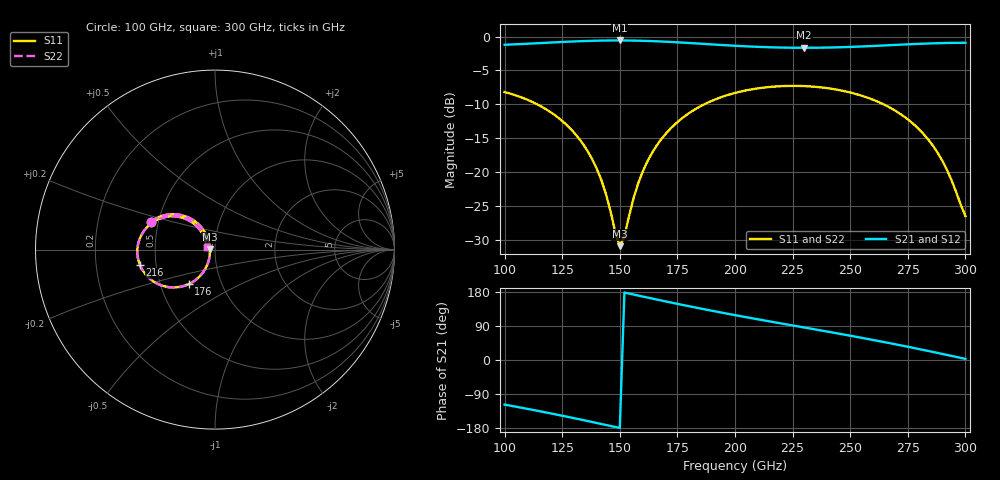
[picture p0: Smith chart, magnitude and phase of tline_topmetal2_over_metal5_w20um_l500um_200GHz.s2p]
#  GHZ S DB R 50
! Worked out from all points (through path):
!   101 points, 100 GHz to 300 GHz, reference 50 ohm
!   highest |S21| = -0.57 dB at 150 GHz (marker M1); lowest = -1.6 dB at 230 GHz (marker M2)
!   group delay of S21, straight-line fit = 3.29 ps
!   lowest |S11| = -30.9 dB at 150 GHz (marker M3), VSWR 1.06, Z = 47.2 + j0.127 ohm
!   |S11| at or under -10 dB: 114.2 GHz to 186.6 GHz (72.43 GHz wide, 48.2 % of centre); 264.5 GHz to end of sweep
!   |S22| runs from -31.2 to -7.3 dB; largest |S21 - S12| = 9.6e-14
!   S11 on the Smith chart (normalised r, x): 100 GHz: 0.45, +0.17; 176 GHz: 0.70, -0.28; 216 GHz: 0.41, -0.09; 300 GHz: 0.91, +0.03
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100  -8.18 156.5  -1.20 -117.7  -1.20 -117.7  -8.18 156.4
120  -11.16 135.5  -0.88 -141.0  -0.88 -141.0  -11.17 135.3
134  -15.83 122.6  -0.66 -158.5  -0.66 -158.5  -15.85 122.3
142  -21.18 121.3  -0.59 -168.8  -0.59 -168.8  -21.22 120.8
150  -30.92 177.3  -0.57 -179.4  -0.57 -179.4  -31.18 177.5
152  -29.50 -148.3  -0.57 178.0  -0.57 178.0  -29.66 -147.3
156  -23.80 -121.7  -0.59 172.7  -0.59 172.7  -23.83 -120.9
158  -21.63 -118.2  -0.60 170.1  -0.60 170.1  -21.64 -117.6
162  -18.40 -116.9  -0.64 164.8  -0.64 164.8  -18.40 -116.5
168  -15.14 -120.2  -0.72 157.0  -0.72 157.0  -15.14 -119.9
176  -12.33 -127.4  -0.86 146.9  -0.86 146.9  -12.33 -127.2
186  -10.10 -137.6  -1.07 134.7  -1.07 134.7  -10.10 -137.4
200  -8.31 -152.1  -1.35 118.4  -1.35 118.4  -8.31 -152.0
216  -7.40 -168.2  -1.58 100.8  -1.58 100.8  -7.40 -168.1
230  -7.30 178.0  -1.65 85.8  -1.65 85.8  -7.30 178.1
234  -7.38 174.1  -1.64 81.5  -1.64 81.5  -7.38 174.2
252  -8.42 156.5  -1.50 61.9  -1.50 61.9  -8.42 156.6
268  -10.62 141.0  -1.25 43.4  -1.25 43.4  -10.62 141.1
278  -13.07 132.3  -1.09 31.2  -1.09 31.2  -13.07 132.4
286  -16.14 127.7  -0.99 21.1  -0.99 21.1  -16.15 127.8
292  -19.66 129.1  -0.94 13.4  -0.94 13.4  -19.67 129.1
300  -26.47 163.1  -0.91 3.0  -0.91 3.0  -26.51 163.1
